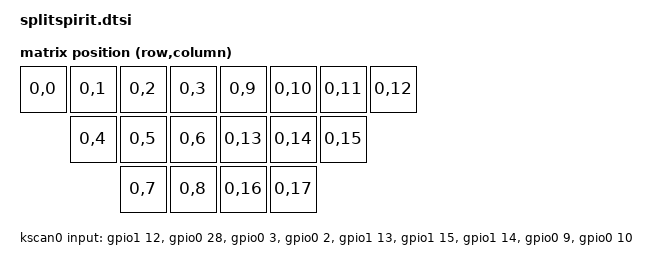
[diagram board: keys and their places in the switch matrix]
/*
 * Copyright (c) 2026 The ZMK Contributors
 * SPDX-License-Identifier: MIT
 */

#include <dt-bindings/zmk/matrix_transform.h>
#include "splitspirit-layout.dtsi"

/ {
    chosen {
        zmk,physical-layout = &physical_layout0;
        zmk,kscan = &kscan0;
    };

    // Left half reports kscan positions 0-8, right half 9-17 (col-offset)
    default_transform: keymap_transform_0 {
        compatible = "zmk,matrix-transform";
        columns = <18>;
        rows = <1>;

        map = <
            RC(0,0) RC(0,1) RC(0,2) RC(0,3)    RC(0,9)  RC(0,10) RC(0,11) RC(0,12)
                    RC(0,4) RC(0,5) RC(0,6)    RC(0,13) RC(0,14) RC(0,15)
                            RC(0,7) RC(0,8)    RC(0,16) RC(0,17)
        >;
    };

    kscan0: kscan {
        compatible = "zmk,kscan-gpio-direct";
        wakeup-source;

        input-gpios
            = <&gpio1 12 (GPIO_ACTIVE_LOW | GPIO_PULL_UP)>
            , <&gpio0 28 (GPIO_ACTIVE_LOW | GPIO_PULL_UP)>
            , <&gpio0  3 (GPIO_ACTIVE_LOW | GPIO_PULL_UP)>
            , <&gpio0  2 (GPIO_ACTIVE_LOW | GPIO_PULL_UP)>

            , <&gpio1 13 (GPIO_ACTIVE_LOW | GPIO_PULL_UP)>
            , <&gpio1 15 (GPIO_ACTIVE_LOW | GPIO_PULL_UP)>
            , <&gpio1 14 (GPIO_ACTIVE_LOW | GPIO_PULL_UP)>

            , <&gpio0  9 (GPIO_ACTIVE_LOW | GPIO_PULL_UP)>
            , <&gpio0 10 (GPIO_ACTIVE_LOW | GPIO_PULL_UP)>
            ;
    };
};
